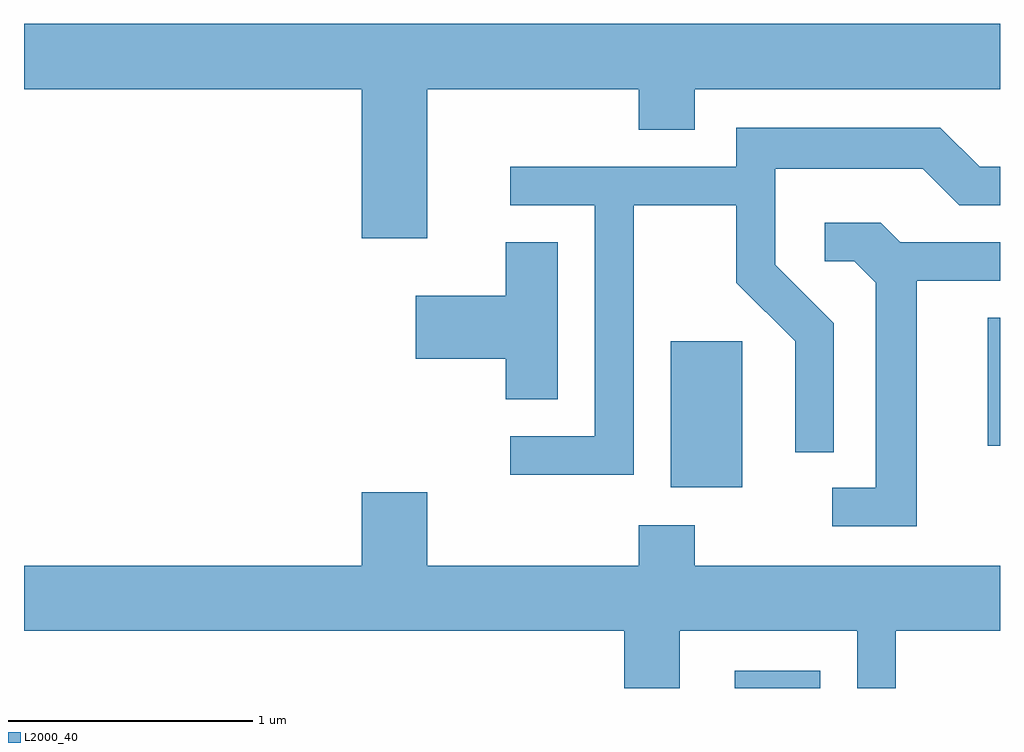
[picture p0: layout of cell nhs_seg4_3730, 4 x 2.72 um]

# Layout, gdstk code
import gdstk
lib = gdstk.Library(unit=1e-6, precision=1e-09)
def R(c, l, rs):  # rectangles x0, y0, x1, y1
    for r in rs: c.add(gdstk.rectangle(r[:2], r[2:], *l))
def P(c, l, *ps):  # polygons
    for p in ps: c.add(gdstk.Polygon(p, *l))
L2000_40 = (2000, 40)

nhs_seg4_3730 = lib.new_cell('nhs_seg4_3730')
R(nhs_seg4_3730, L2000_40, [(296.523,1369.982,296.874,1370.054), (296.261,1370.806,296.554,1371.404), (297.561,1370.976,297.611,1371.499)])
P(nhs_seg4_3730, L2000_40, [(295.264,1372.436),(296.131,1372.436),(296.131,1372.271),(296.359,1372.271),(296.359,1372.436),(297.611,1372.436),(297.611,1372.704),(293.611,1372.704),(293.611,1372.436),(294.996,1372.436),(294.996,1371.826),(295.264,1371.826)],
  [(296.109,1371.961),(296.531,1371.961),(296.531,1371.644),(296.771,1371.404),(296.771,1370.948),(296.929,1370.948),(296.929,1371.477),(296.689,1371.717),(296.689,1372.111),(297.294,1372.111),(297.444,1371.961),(297.611,1371.961),(297.611,1372.119),(297.527,1372.119),(297.367,1372.279),(296.531,1372.279),(296.531,1372.119),(295.603,1372.119),(295.603,1371.961),(295.951,1371.961),(295.951,1371.014),(295.603,1371.014),(295.603,1370.856),(296.109,1370.856)],
  [(297.269,1371.651),(297.611,1371.651),(297.611,1371.809),(297.202,1371.809),(297.122,1371.889),(296.893,1371.889),(296.893,1371.731),(297.014,1371.731),(297.101,1371.644),(297.101,1370.804),(296.923,1370.804),(296.923,1370.646),(297.269,1370.646)],
  [(295.799,1371.809),(295.586,1371.809),(295.586,1371.589),(295.216,1371.589),(295.216,1371.331),(295.586,1371.331),(295.586,1371.166),(295.799,1371.166)],
  [(296.299,1370.216),(297.026,1370.216),(297.026,1369.982),(297.184,1369.982),(297.184,1370.216),(297.611,1370.216),(297.611,1370.484),(296.359,1370.484),(296.359,1370.649),(296.131,1370.649),(296.131,1370.484),(295.264,1370.484),(295.264,1370.784),(294.996,1370.784),(294.996,1370.484),(293.611,1370.484),(293.611,1370.216),(296.071,1370.216),(296.071,1369.982),(296.299,1369.982)])

lib.write_gds('nhs_seg4_3730.gds')
